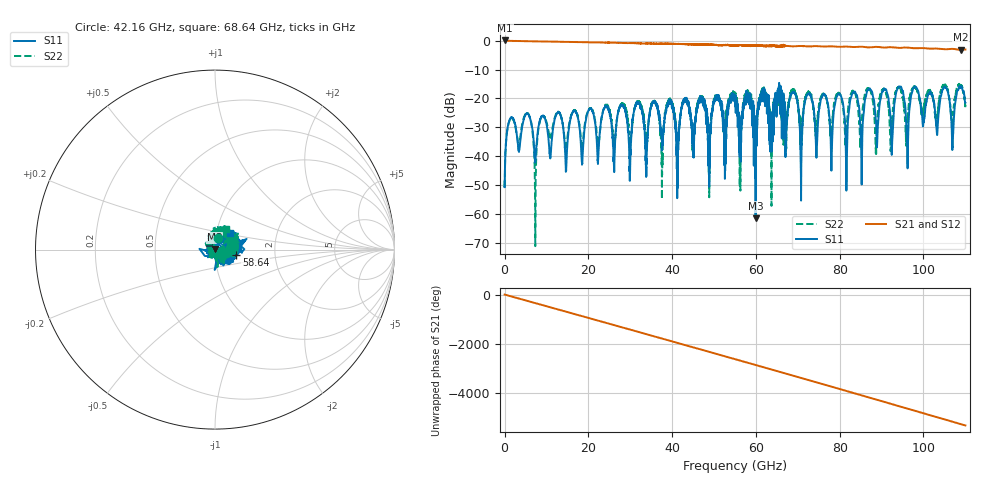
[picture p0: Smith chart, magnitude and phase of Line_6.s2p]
#  HZ  S  RI  R  50.00
! Rohde & Schwarz ZVA67 4Ports - Version 4.11 - 1305.7002k04 SN: 101032
! Date: 2026-02-18 15:38:03
! Measurements: S11 S21 S12 S22
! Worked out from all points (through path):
!   5500 points, 20 MHz to 110 GHz, reference 50 ohm
!   highest |S21| = 0.02 dB at 120 MHz (marker M1); lowest = -3.2 dB at 108.8 GHz (marker M2)
!   group delay of S21, straight-line fit = 134 ps
!   lowest |S11| = -61.3 dB at 59.92 GHz (marker M3), VSWR 1.00, Z = 50 + j0.0729 ohm
!   |S11| at or under -10 dB: start of sweep to end of sweep
!   |S22| runs from -70.9 to -14.9 dB; largest |S21 - S12| = 0.05
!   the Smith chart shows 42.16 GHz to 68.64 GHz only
!   S11 on the Smith chart (normalised r, x): 42.16 GHz: 1.04, +0.12; 58.64 GHz: 1.27, -0.08; 68.64 GHz: 1.16, +0.22
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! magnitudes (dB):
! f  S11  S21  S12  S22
! 20 MHz  -50.5  0.0  -0.1  -48.3
! 120 MHz  -43.4  0.0  0.0  -42.4
! 5.32 GHz  -25.2  -0.2  -0.2  -25.0
! 7.32 GHz  -41.7  -0.3  -0.3  -56.6
! 9.08 GHz  -26.1  -0.3  -0.3  -26.0
! 18.36 GHz  -39.4  -0.5  -0.6  -35.8
! 36.68 GHz  -24.2  -1.1  -1.1  -24.7
! 42.16 GHz  -24.1  -1.2  -1.2  -23.7
! 55.02 GHz  -19.9  -1.6  -1.6  -19.7
! 58.64 GHz  -18.2  -1.7  -1.8  -19.1
! 59.92 GHz  -61.3  -1.7  -1.7  -38.8
! 68.64 GHz  -17.9  -2.0  -2.0  -17.6
! 70.76 GHz  -50.5  -1.9  -1.9  -42.8
! 73.34 GHz  -20.2  -2.0  -2.0  -20.1
! 81.6 GHz  -51.8  -2.1  -2.0  -33.2
! 83.28 GHz  -17.9  -2.2  -2.2  -17.4
! 85.24 GHz  -49.7  -2.1  -2.1  -28.1
! 86.88 GHz  -16.9  -2.4  -2.3  -16.4
! 91.68 GHz  -20.3  -2.3  -2.3  -24.0
! 106.9 GHz  -36.6  -2.9  -2.9  -27.9
! 108.8 GHz  -16.2  -3.2  -3.2  -15.2
! 110 GHz  -21.5  -3.1  -3.1  -23.0
